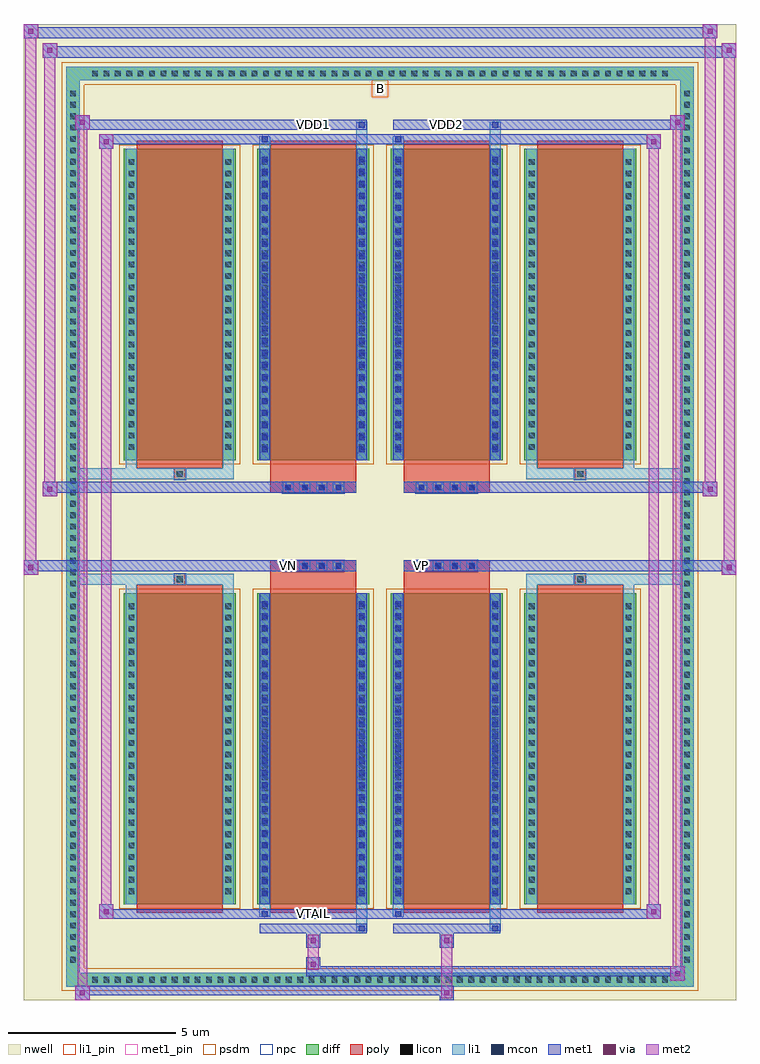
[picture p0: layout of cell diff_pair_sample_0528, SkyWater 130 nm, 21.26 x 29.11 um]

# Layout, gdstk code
import gdstk
lib = gdstk.Library(unit=1e-6, precision=5e-09)
def R(c, l, rs):  # rectangles x0, y0, x1, y1
    for r in rs: c.add(gdstk.rectangle(r[:2], r[2:], *l))
def A(c, l, x, y, w, h, nx, ny, dx, dy):  # array of equal rectangles
    R(c, l, [(x+i*dx, y+j*dy, x+i*dx+w, y+j*dy+h) for i in range(nx) for j in range(ny)])
def P(c, l, *ps):  # polygons
    for p in ps: c.add(gdstk.Polygon(p, *l))
nwell = (64, 20)
diff = (65, 20)
poly = (66, 20)
licon = (66, 44)
li1_pin = (67, 16)
li1 = (67, 20)
mcon = (67, 44)
met1_pin = (68, 16)
met1 = (68, 20)
via = (68, 44)
met2 = (69, 20)
psdm = (94, 20)
npc = (95, 20)

diff_pair_sample_0528 = lib.new_cell('diff_pair_sample_0528')
R(diff_pair_sample_0528, nwell, [(-10.63,-14.12,10.63,14.99), (-7.95,-12.31,-0.01,-0.805), (0.01,-12.31,7.95,-0.805), (-7.95,0.805,-0.01,12.31), (0.01,0.805,7.95,12.31)])
A(diff_pair_sample_0528, diff, -8.705, -13.72, 0.41, 0.41, 51, 2, 0.34, 27.03)
A(diff_pair_sample_0528, diff, -9.36, -13.125, 0.41, 0.41, 1, 77, 0, 0.34)
A(diff_pair_sample_0528, diff, 8.95, -13.125, 0.41, 0.41, 1, 77, 0, 0.34)
A(diff_pair_sample_0528, diff, -7.64, -11.265, 3.34, 9.28, 4, 2, 3.98, 13.25)
R(diff_pair_sample_0528, diff, [(-8.705,-13.72,8.705,-13.31), (-9.36,-13.125,-8.95,13.125), (8.95,-13.125,9.36,13.125), (-8.705,13.31,8.705,13.72)])
P(diff_pair_sample_0528, diff, [(9.36,13.72),(-9.36,13.72),(-9.36,-13.31),(-8.95,-13.31),(-8.95,13.31),(8.95,13.31),(8.95,-13.31),(-8.95,-13.31),(-9.36,-13.31),(-9.36,-13.72),(9.36,-13.72)])
A(diff_pair_sample_0528, poly, -7.25, -11.515, 2.56, 9.78, 4, 2, 3.98, 13.25)
A(diff_pair_sample_0528, poly, -2.905, -1.335, 0.33, 0.33, 4, 2, 0.5, 2.34)
A(diff_pair_sample_0528, poly, 1.075, -1.335, 0.33, 0.33, 4, 2, 0.5, 2.34)
R(diff_pair_sample_0528, poly, [(-6.135,-1.735,-5.805,-1.405), (-6.135,-1.735,-5.805,-1.405), (-3.27,-1.735,-0.71,-1.335), (0.71,-1.735,3.27,-1.335), (5.805,-1.735,6.135,-1.405), (5.805,-1.735,6.135,-1.405), (-3.27,-1.335,-0.71,-1.005), (0.71,-1.335,3.27,-1.005), (-3.27,1.005,-0.71,1.335), (0.71,1.005,3.27,1.335), (-3.27,1.335,-0.71,1.735), (0.71,1.335,3.27,1.735), (-6.135,1.405,-5.805,1.735), (-6.135,1.405,-5.805,1.735), (5.805,1.405,6.135,1.735), (5.805,1.405,6.135,1.735)])
A(diff_pair_sample_0528, licon, -8.585, -13.6, 0.17, 0.17, 51, 2, 0.34, 27.03)
A(diff_pair_sample_0528, licon, -9.24, -13.005, 0.17, 0.17, 1, 77, 0, 0.34)
A(diff_pair_sample_0528, licon, 9.07, -13.005, 0.17, 0.17, 1, 77, 0, 0.34)
A(diff_pair_sample_0528, licon, -7.5, -10.96, 0.17, 0.17, 1, 26, 0, 0.34)
A(diff_pair_sample_0528, licon, -4.61, -10.96, 0.17, 0.17, 1, 26, 0, 0.34)
A(diff_pair_sample_0528, licon, -3.52, -10.96, 0.17, 0.17, 1, 26, 0, 0.34)
A(diff_pair_sample_0528, licon, -0.63, -10.96, 0.17, 0.17, 1, 26, 0, 0.34)
A(diff_pair_sample_0528, licon, 0.46, -10.96, 0.17, 0.17, 1, 26, 0, 0.34)
A(diff_pair_sample_0528, licon, 3.35, -10.96, 0.17, 0.17, 1, 26, 0, 0.34)
A(diff_pair_sample_0528, licon, 4.44, -10.96, 0.17, 0.17, 1, 26, 0, 0.34)
A(diff_pair_sample_0528, licon, 7.33, -10.96, 0.17, 0.17, 1, 26, 0, 0.34)
A(diff_pair_sample_0528, licon, -2.825, -1.255, 0.17, 0.17, 4, 2, 0.5, 2.34)
A(diff_pair_sample_0528, licon, 1.155, -1.255, 0.17, 0.17, 4, 2, 0.5, 2.34)
A(diff_pair_sample_0528, licon, -7.5, 2.29, 0.17, 0.17, 1, 26, 0, 0.34)
A(diff_pair_sample_0528, licon, -4.61, 2.29, 0.17, 0.17, 1, 26, 0, 0.34)
A(diff_pair_sample_0528, licon, -3.52, 2.29, 0.17, 0.17, 1, 26, 0, 0.34)
A(diff_pair_sample_0528, licon, -0.63, 2.29, 0.17, 0.17, 1, 26, 0, 0.34)
A(diff_pair_sample_0528, licon, 0.46, 2.29, 0.17, 0.17, 1, 26, 0, 0.34)
A(diff_pair_sample_0528, licon, 3.35, 2.29, 0.17, 0.17, 1, 26, 0, 0.34)
A(diff_pair_sample_0528, licon, 4.44, 2.29, 0.17, 0.17, 1, 26, 0, 0.34)
A(diff_pair_sample_0528, licon, 7.33, 2.29, 0.17, 0.17, 1, 26, 0, 0.34)
R(diff_pair_sample_0528, licon, [(-6.055,-1.655,-5.885,-1.485), (5.885,-1.655,6.055,-1.485), (-6.055,1.485,-5.885,1.655), (5.885,1.485,6.055,1.655)])
R(diff_pair_sample_0528, li1_pin, [(-0.25,12.81,0.25,13.31)])
A(diff_pair_sample_0528, li1, -8.665, -13.68, 0.33, 0.33, 51, 2, 0.34, 27.03)
A(diff_pair_sample_0528, li1, -9.32, -13.085, 0.33, 0.33, 1, 77, 0, 0.34)
A(diff_pair_sample_0528, li1, 8.99, -13.085, 0.33, 0.33, 1, 77, 0, 0.34)
A(diff_pair_sample_0528, li1, -7.58, -11.04, 0.33, 0.33, 1, 26, 0, 0.34)
A(diff_pair_sample_0528, li1, -4.69, -11.04, 0.33, 0.33, 1, 26, 0, 0.34)
A(diff_pair_sample_0528, li1, -3.6, -11.04, 0.33, 0.33, 1, 26, 0, 0.34)
A(diff_pair_sample_0528, li1, -0.71, -11.04, 0.33, 0.33, 1, 26, 0, 0.34)
A(diff_pair_sample_0528, li1, 0.38, -11.04, 0.33, 0.33, 1, 26, 0, 0.34)
A(diff_pair_sample_0528, li1, 3.27, -11.04, 0.33, 0.33, 1, 26, 0, 0.34)
A(diff_pair_sample_0528, li1, 4.36, -11.04, 0.33, 0.33, 1, 26, 0, 0.34)
A(diff_pair_sample_0528, li1, 7.25, -11.04, 0.33, 0.33, 1, 26, 0, 0.34)
A(diff_pair_sample_0528, li1, -3.52, -11.03, 0.17, 0.17, 1, 25, 0, 0.36)
A(diff_pair_sample_0528, li1, -0.63, -11.03, 0.17, 0.17, 1, 25, 0, 0.36)
A(diff_pair_sample_0528, li1, 0.46, -11.03, 0.17, 0.17, 1, 25, 0, 0.36)
A(diff_pair_sample_0528, li1, 3.35, -11.03, 0.17, 0.17, 1, 25, 0, 0.36)
A(diff_pair_sample_0528, li1, -2.905, -1.335, 0.33, 0.33, 4, 2, 0.5, 2.34)
A(diff_pair_sample_0528, li1, 1.075, -1.335, 0.33, 0.33, 4, 2, 0.5, 2.34)
A(diff_pair_sample_0528, li1, -7.58, 2.21, 0.33, 0.33, 1, 26, 0, 0.34)
A(diff_pair_sample_0528, li1, -4.69, 2.21, 0.33, 0.33, 1, 26, 0, 0.34)
A(diff_pair_sample_0528, li1, -3.6, 2.21, 0.33, 0.33, 1, 26, 0, 0.34)
A(diff_pair_sample_0528, li1, -0.71, 2.21, 0.33, 0.33, 1, 26, 0, 0.34)
A(diff_pair_sample_0528, li1, 0.38, 2.21, 0.33, 0.33, 1, 26, 0, 0.34)
A(diff_pair_sample_0528, li1, 3.27, 2.21, 0.33, 0.33, 1, 26, 0, 0.34)
A(diff_pair_sample_0528, li1, 4.36, 2.21, 0.33, 0.33, 1, 26, 0, 0.34)
A(diff_pair_sample_0528, li1, 7.25, 2.21, 0.33, 0.33, 1, 26, 0, 0.34)
A(diff_pair_sample_0528, li1, -3.52, 2.22, 0.17, 0.17, 1, 25, 0, 0.36)
A(diff_pair_sample_0528, li1, -0.63, 2.22, 0.17, 0.17, 1, 25, 0, 0.36)
A(diff_pair_sample_0528, li1, 0.46, 2.22, 0.17, 0.17, 1, 25, 0, 0.36)
A(diff_pair_sample_0528, li1, 3.35, 2.22, 0.17, 0.17, 1, 25, 0, 0.36)
R(diff_pair_sample_0528, li1, [(-9.36,-13.72,-8.95,-13.31), (-9.36,-13.72,-8.95,-13.31), (-8.95,-13.72,8.95,-13.31), (8.95,-13.72,9.36,-13.31), (8.95,-13.72,9.36,-13.31), (-9.36,-13.31,-8.95,13.31), (8.95,-13.31,9.36,13.31), (-0.71,-12.07,-0.38,-11.265), (-0.63,-12.07,-0.46,-11.9), (3.27,-12.07,3.6,-11.265), (3.35,-12.07,3.52,-11.9), (-3.6,-11.64,-3.27,-11.265), (-3.52,-11.64,-3.35,-11.47), (0.38,-11.64,0.71,-11.265), (0.46,-11.64,0.63,-11.47), (-7.58,-11.265,-7.25,-1.985), (-4.69,-11.265,-4.36,-1.985), (-3.6,-11.265,-3.27,-1.985), (-0.71,-11.265,-0.38,-1.985), (0.38,-11.265,0.71,-1.985), (3.27,-11.265,3.6,-1.985), (4.36,-11.265,4.69,-1.985), (7.25,-11.265,7.58,-1.985), (-3.52,-11.03,-3.35,-2.22), (-0.63,-11.03,-0.46,-2.22), (0.46,-11.03,0.63,-2.22), (3.35,-11.03,3.52,-2.22), (-7.58,-1.985,-7.25,-1.405), (-4.69,-1.985,-4.36,-1.405), (4.36,-1.985,4.69,-1.405), (7.25,-1.985,7.58,-1.405), (-9.36,-1.735,-6.135,-1.405), (-7.58,-1.735,-6.135,-1.405), (-6.135,-1.735,-5.805,-1.405), (-5.805,-1.735,-4.36,-1.405), (4.36,-1.735,5.805,-1.405), (5.805,-1.735,6.135,-1.405), (5.805,-1.735,9.36,-1.405), (6.135,-1.735,7.58,-1.405), (-9.36,1.405,-6.135,1.735), (-7.58,1.405,-6.135,1.735), (-7.58,1.405,-7.25,1.985), (-6.135,1.405,-5.805,1.735), (-5.805,1.405,-4.36,1.735), (-4.69,1.405,-4.36,1.985), (4.36,1.405,5.805,1.735), (4.36,1.405,4.69,1.985), (5.805,1.405,6.135,1.735), (5.805,1.405,9.36,1.735), (6.135,1.405,7.58,1.735), (7.25,1.405,7.58,1.985), (-7.58,1.985,-7.25,11.265), (-4.69,1.985,-4.36,11.265), (-3.6,1.985,-3.27,11.265), (-0.71,1.985,-0.38,11.265), (0.38,1.985,0.71,11.265), (3.27,1.985,3.6,11.265), (4.36,1.985,4.69,11.265), (7.25,1.985,7.58,11.265), (-3.52,2.22,-3.35,11.03), (-0.63,2.22,-0.46,11.03), (0.46,2.22,0.63,11.03), (3.35,2.22,3.52,11.03), (-3.6,11.265,-3.27,11.64), (-0.71,11.265,-0.38,12.07), (0.38,11.265,0.71,11.64), (3.27,11.265,3.6,12.07), (-3.52,11.47,-3.35,11.64), (0.46,11.47,0.63,11.64), (-0.63,11.9,-0.46,12.07), (3.35,11.9,3.52,12.07), (-9.36,13.31,-8.95,13.72), (-9.36,13.31,-8.95,13.72), (-8.95,13.31,8.95,13.72), (8.95,13.31,9.36,13.72), (8.95,13.31,9.36,13.72)])
A(diff_pair_sample_0528, mcon, -3.52, -11.03, 0.17, 0.17, 1, 25, 0, 0.36)
A(diff_pair_sample_0528, mcon, -0.63, -11.03, 0.17, 0.17, 1, 25, 0, 0.36)
A(diff_pair_sample_0528, mcon, 0.46, -11.03, 0.17, 0.17, 1, 25, 0, 0.36)
A(diff_pair_sample_0528, mcon, 3.35, -11.03, 0.17, 0.17, 1, 25, 0, 0.36)
A(diff_pair_sample_0528, mcon, -2.825, -1.255, 0.17, 0.17, 4, 2, 0.5, 2.34)
A(diff_pair_sample_0528, mcon, 1.155, -1.255, 0.17, 0.17, 4, 2, 0.5, 2.34)
A(diff_pair_sample_0528, mcon, -3.52, 2.22, 0.17, 0.17, 1, 25, 0, 0.36)
A(diff_pair_sample_0528, mcon, -0.63, 2.22, 0.17, 0.17, 1, 25, 0, 0.36)
A(diff_pair_sample_0528, mcon, 0.46, 2.22, 0.17, 0.17, 1, 25, 0, 0.36)
A(diff_pair_sample_0528, mcon, 3.35, 2.22, 0.17, 0.17, 1, 25, 0, 0.36)
R(diff_pair_sample_0528, mcon, [(-0.63,-12.07,-0.46,-11.9), (3.35,-12.07,3.52,-11.9), (-3.52,-11.64,-3.35,-11.47), (0.46,-11.64,0.63,-11.47), (-3.52,11.47,-3.35,11.64), (0.46,11.47,0.63,11.64), (-0.63,11.9,-0.46,12.07), (3.35,11.9,3.52,12.07)])
R(diff_pair_sample_0528, met1_pin, [(-2.125,-11.68,-1.855,-11.41), (-2.875,-1.295,-2.605,-1.025), (1.105,-1.295,1.375,-1.025), (-2.125,11.86,-1.855,12.13), (1.855,11.86,2.125,12.13)])
A(diff_pair_sample_0528, met1, -3.58, -11.09, 0.29, 0.29, 1, 25, 0, 0.36)
A(diff_pair_sample_0528, met1, -0.69, -11.09, 0.29, 0.29, 1, 25, 0, 0.36)
A(diff_pair_sample_0528, met1, 0.4, -11.09, 0.29, 0.29, 1, 25, 0, 0.36)
A(diff_pair_sample_0528, met1, 3.29, -11.09, 0.29, 0.29, 1, 25, 0, 0.36)
A(diff_pair_sample_0528, met1, -2.885, -1.315, 0.29, 0.29, 4, 2, 0.5, 2.34)
A(diff_pair_sample_0528, met1, 1.095, -1.315, 0.29, 0.29, 4, 2, 0.5, 2.34)
A(diff_pair_sample_0528, met1, -3.58, 2.16, 0.29, 0.29, 1, 25, 0, 0.36)
A(diff_pair_sample_0528, met1, -0.69, 2.16, 0.29, 0.29, 1, 25, 0, 0.36)
A(diff_pair_sample_0528, met1, 0.4, 2.16, 0.29, 0.29, 1, 25, 0, 0.36)
A(diff_pair_sample_0528, met1, 3.29, 2.16, 0.29, 0.29, 1, 25, 0, 0.36)
R(diff_pair_sample_0528, met1, [(-9.09,-14.12,-8.66,-13.69), (1.775,-14.12,2.205,-13.69), (-9.09,-13.98,2.205,-13.69), (8.66,-13.55,9.09,-13.12), (-2.205,-13.41,9.09,-13.12), (-2.205,-13.27,-1.775,-12.84), (-2.205,-12.56,-1.775,-12.13), (1.775,-12.56,2.205,-12.13), (-3.58,-12.13,-0.4,-11.84), (-0.69,-12.13,-0.4,-11.84), (0.4,-12.13,3.58,-11.84), (3.29,-12.13,3.58,-11.84), (-8.38,-11.7,-7.95,-11.27), (-8.38,-11.7,-3.58,-11.41), (-3.58,-11.7,-3.29,-11.41), (-3.58,-11.7,-0.4,-11.41), (-0.4,-11.7,0.4,-11.41), (0.4,-11.7,0.69,-11.41), (0.4,-11.7,3.58,-11.41), (3.58,-11.7,8.38,-11.41), (7.95,-11.7,8.38,-11.27), (-3.58,-11.265,-3.29,-1.985), (-0.69,-11.265,-0.4,-1.985), (0.4,-11.265,0.69,-1.985), (3.29,-11.265,3.58,-1.985), (-10.63,-1.435,-10.2,-1.005), (10.2,-1.435,10.63,-1.005), (-10.63,-1.335,-0.71,-1.005), (-3.27,-1.335,-0.71,-1.005), (0.71,-1.335,3.27,-1.005), (0.71,-1.335,10.63,-1.005), (-10.06,0.905,-9.63,1.335), (9.63,0.905,10.06,1.335), (-10.06,1.005,-3.27,1.335), (-3.27,1.005,-0.71,1.335), (0.71,1.005,3.27,1.335), (3.27,1.005,10.06,1.335), (-3.58,1.985,-3.29,11.265), (-0.69,1.985,-0.4,11.265), (0.4,1.985,0.69,11.265), (3.29,1.985,3.58,11.265), (-8.38,11.27,-7.95,11.7), (7.95,11.27,8.38,11.7), (-8.38,11.41,-3.58,11.7), (-3.58,11.41,-3.29,11.7), (-3.58,11.41,-0.4,11.7), (-0.4,11.41,0.4,11.7), (0.4,11.41,0.69,11.7), (0.4,11.41,3.58,11.7), (3.58,11.41,8.38,11.7), (-9.09,11.84,-8.66,12.27), (-9.09,11.84,-3.58,12.13), (-3.58,11.84,-0.4,12.13), (-0.69,11.84,-0.4,12.13), (0.4,11.84,3.58,12.13), (3.29,11.84,3.58,12.13), (3.58,11.84,9.09,12.13), (8.66,11.84,9.09,12.27), (-10.06,13.99,-9.63,14.42), (-10.06,13.99,-7.95,14.32), (-7.95,13.99,7.95,14.32), (7.95,13.99,10.63,14.32), (10.2,13.99,10.63,14.42), (-10.63,14.56,-10.2,14.99), (-10.63,14.56,-7.95,14.89), (-7.95,14.56,7.95,14.89), (7.95,14.56,10.06,14.89), (9.63,14.56,10.06,14.99)])
R(diff_pair_sample_0528, via, [(-8.95,-13.98,-8.8,-13.83), (1.915,-13.98,2.065,-13.83), (8.8,-13.41,8.95,-13.26), (-2.065,-13.13,-1.915,-12.98), (-2.065,-12.42,-1.915,-12.27), (1.915,-12.42,2.065,-12.27), (-8.24,-11.56,-8.09,-11.41), (8.09,-11.56,8.24,-11.41), (-10.49,-1.295,-10.34,-1.145), (10.34,-1.295,10.49,-1.145), (-9.92,1.045,-9.77,1.195), (9.77,1.045,9.92,1.195), (-8.24,11.41,-8.09,11.56), (8.09,11.41,8.24,11.56), (-8.95,11.98,-8.8,12.13), (8.8,11.98,8.95,12.13), (-9.92,14.13,-9.77,14.28), (10.34,14.13,10.49,14.28), (-10.49,14.7,-10.34,14.85), (9.77,14.7,9.92,14.85)])
R(diff_pair_sample_0528, met2, [(-9.09,-14.12,-8.66,-13.69), (-9.02,-14.12,-8.73,12.27), (-8.73,-14.12,-8.66,-13.69), (-9.04,-14.07,-8.71,-13.74), (1.825,-14.07,2.155,-13.74), (1.825,-13.74,2.155,-12.51), (8.66,-13.55,9.09,-13.12), (8.73,-13.55,9.02,12.27), (9.02,-13.55,9.09,-13.12), (8.71,-13.5,9.04,-13.17), (-2.155,-13.22,-1.825,-12.89), (-2.155,-12.89,-1.825,-12.51), (-2.155,-12.51,-1.825,-12.18), (1.825,-12.51,2.155,-12.18), (-8.38,-11.7,-7.95,-11.27), (-8.31,-11.7,-8.02,11.7), (-8.02,-11.7,-7.95,-11.27), (7.95,-11.7,8.38,-11.27), (8.02,-11.7,8.31,11.7), (8.31,-11.7,8.38,-11.27), (-8.33,-11.65,-8,-11.32), (8,-11.65,8.33,-11.32), (-10.63,-1.435,-10.2,-1.005), (-10.58,-1.435,-10.25,14.99), (-10.25,-1.435,-10.2,-1.005), (10.2,-1.435,10.63,-1.005), (10.25,-1.435,10.58,14.42), (10.58,-1.435,10.63,-1.005), (-10.58,-1.385,-10.25,-1.055), (10.25,-1.385,10.58,-1.055), (-10.06,0.905,-9.63,1.335), (-10.01,0.905,-9.68,14.42), (-9.68,0.905,-9.63,1.335), (9.63,0.905,10.06,1.335), (9.68,0.905,10.01,14.99), (10.01,0.905,10.06,1.335), (-10.01,0.955,-9.68,1.285), (9.68,0.955,10.01,1.285), (-8.38,11.27,-7.95,11.7), (-8.02,11.27,-7.95,11.7), (7.95,11.27,8.38,11.7), (8.31,11.27,8.38,11.7), (-8.33,11.32,-8,11.65), (8,11.32,8.33,11.65), (-9.09,11.84,-8.66,12.27), (-8.73,11.84,-8.66,12.27), (8.66,11.84,9.09,12.27), (9.02,11.84,9.09,12.27), (-9.04,11.89,-8.71,12.22), (8.71,11.89,9.04,12.22), (-10.06,13.99,-9.63,14.42), (-9.68,13.99,-9.63,14.42), (10.2,13.99,10.63,14.42), (10.58,13.99,10.63,14.42), (-10.01,14.04,-9.68,14.37), (10.25,14.04,10.58,14.37), (-10.63,14.56,-10.2,14.99), (-10.25,14.56,-10.2,14.99), (9.63,14.56,10.06,14.99), (10.01,14.56,10.06,14.99), (-10.58,14.61,-10.25,14.94), (9.68,14.61,10.01,14.94)])
A(diff_pair_sample_0528, psdm, -7.77, -11.395, 3.6, 9.54, 4, 2, 3.98, 13.25)
P(diff_pair_sample_0528, psdm, [(9.49,13.85),(-9.49,13.85),(-9.49,-13.18),(-8.82,-13.18),(-8.82,13.18),(8.82,13.18),(8.82,-13.18),(-8.82,-13.18),(-9.49,-13.18),(-9.49,-13.85),(9.49,-13.85)])
A(diff_pair_sample_0528, npc, -2.925, -1.355, 0.37, 0.37, 4, 2, 0.5, 2.34)
A(diff_pair_sample_0528, npc, 1.055, -1.355, 0.37, 0.37, 4, 2, 0.5, 2.34)
R(diff_pair_sample_0528, npc, [(-6.155,-1.755,-5.785,-1.385), (5.785,-1.755,6.155,-1.385), (-2.925,-1.355,-2.055,-0.985), (-2.925,-1.355,-2.055,-0.985), (-2.425,-1.355,-1.555,-0.985), (-2.425,-1.355,-1.555,-0.985), (-1.925,-1.355,-1.055,-0.985), (-1.925,-1.355,-1.055,-0.985), (1.055,-1.355,1.925,-0.985), (1.055,-1.355,1.925,-0.985), (1.555,-1.355,2.425,-0.985), (1.555,-1.355,2.425,-0.985), (2.055,-1.355,2.925,-0.985), (2.055,-1.355,2.925,-0.985), (-2.925,0.985,-2.055,1.355), (-2.925,0.985,-2.055,1.355), (-2.425,0.985,-1.555,1.355), (-2.425,0.985,-1.555,1.355), (-1.925,0.985,-1.055,1.355), (-1.925,0.985,-1.055,1.355), (1.055,0.985,1.925,1.355), (1.055,0.985,1.925,1.355), (1.555,0.985,2.425,1.355), (1.555,0.985,2.425,1.355), (2.055,0.985,2.925,1.355), (2.055,0.985,2.925,1.355), (-6.155,1.385,-5.785,1.755), (5.785,1.385,6.155,1.755)])
diff_pair_sample_0528.add(gdstk.Label('VTAIL', (-1.99,-11.545), layer=68, texttype=5))
diff_pair_sample_0528.add(gdstk.Label('VN', (-2.74,-1.16), layer=68, texttype=5))
diff_pair_sample_0528.add(gdstk.Label('VP', (1.24,-1.16), layer=68, texttype=5))
diff_pair_sample_0528.add(gdstk.Label('B', (0,13.06), layer=67, texttype=5))
diff_pair_sample_0528.add(gdstk.Label('VDD2', (1.99,11.995), layer=68, texttype=5))
diff_pair_sample_0528.add(gdstk.Label('VDD1', (-1.99,11.995), layer=68, texttype=5))

lib.write_gds('diff_pair_sample_0528.gds')
